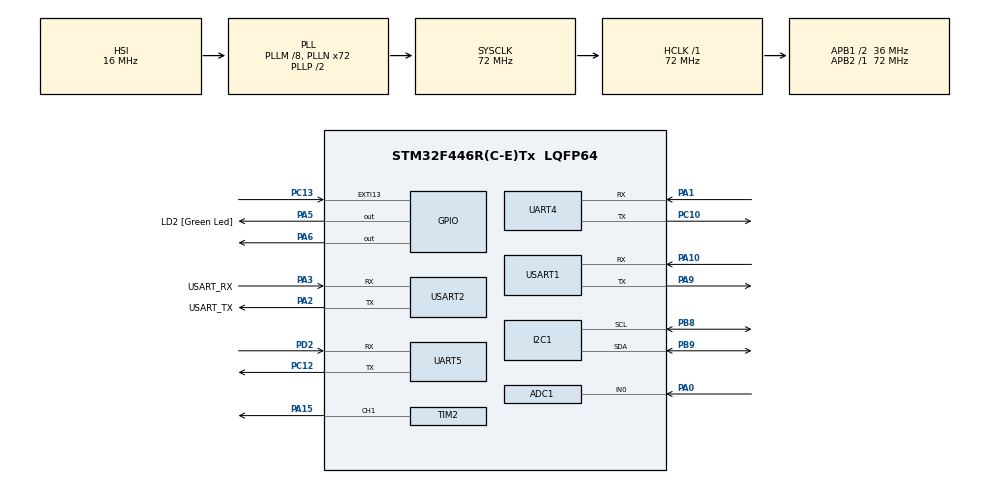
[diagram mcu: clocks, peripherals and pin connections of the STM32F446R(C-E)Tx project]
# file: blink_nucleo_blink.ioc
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ADC1.Channel-0\#ChannelRegularConversion=ADC_CHANNEL_0
ADC1.ContinuousConvMode=ENABLE
ADC1.NbrOfConversionFlag=1
ADC1.Rank-0\#ChannelRegularConversion=1
ADC1.SamplingTime-0\#ChannelRegularConversion=ADC_SAMPLETIME_3CYCLES
ADC1.master=1
Dma.Request0=USART2_RX
Dma.USART2_RX.0.Direction=DMA_PERIPH_TO_MEMORY
Dma.USART2_RX.0.FIFOMode=DMA_FIFOMODE_DISABLE
Dma.USART2_RX.0.Instance=DMA1_Stream5
Dma.USART2_RX.0.MemDataAlignment=DMA_MDATAALIGN_BYTE
Dma.USART2_RX.0.MemInc=DMA_MINC_ENABLE
Dma.USART2_RX.0.Mode=DMA_CIRCULAR
Dma.USART2_RX.0.PeriphDataAlignment=DMA_PDATAALIGN_BYTE
Dma.USART2_RX.0.PeriphInc=DMA_PINC_DISABLE
Dma.USART2_RX.0.Priority=DMA_PRIORITY_LOW
FREERTOS.Mutexes01=myMutex01,Dynamic,NULL,Available
FREERTOS.Tasks01=defaultTask,0,128,StartDefaultTask,Default,NULL,Dynamic,NULL,NULL;SensorOkumasi,3,512,readSensor,Default,NULL,Dynamic,NULL,NULL;SeriPortYazdir,2,512,serialWrite,Default,NULL,Dynamic,NULL,NULL
I2C1.I2C_Mode=I2C_Fast
Mcu.Family=STM32F4
Mcu.Name=STM32F446R(C-E)Tx
Mcu.Package=LQFP64
NVIC.DMA1_Stream5_IRQn=true\:5\:0\:false\:false\:true\:true\:false\:true\:true
NVIC.PriorityGroup=NVIC_PRIORITYGROUP_4
NVIC.TIM6_DAC_IRQn=true\:15\:0\:false\:false\:true\:false\:false\:true\:true
NVIC.TimeBase=TIM6_DAC_IRQn
NVIC.TimeBaseIP=TIM6
NVIC.USART2_IRQn=true\:5\:0\:false\:false\:true\:true\:true\:true\:true
PA0-WKUP.Signal=ADCx_IN0
PA1.Mode=Asynchronous
PA1.Signal=UART4_RX
PA10.Mode=Asynchronous
PA10.Signal=USART1_RX
PA13.GPIO_Label=TMS
PA13.Mode=Serial_Wire
PA13.Signal=SYS_JTMS-SWDIO
PA14.GPIO_Label=TCK
PA14.Mode=Serial_Wire
PA14.Signal=SYS_JTCK-SWCLK
PA15.Signal=S_TIM2_CH1_ETR
PA2.GPIO_Label=USART_TX
PA2.Mode=Asynchronous
PA2.Signal=USART2_TX
PA3.GPIO_Label=USART_RX
PA3.Mode=Asynchronous
PA3.Signal=USART2_RX
PA5.GPIO_Label=LD2 [Green Led]
PA5.Signal=GPIO_Output
PA6.Signal=GPIO_Output
PA9.Mode=Asynchronous
PA9.Signal=USART1_TX
PB3.GPIO_Label=SWO
PB3.Signal=SYS_JTDO-SWO
PB8.Mode=I2C
PB8.Signal=I2C1_SCL
PB9.Mode=I2C
PB9.Signal=I2C1_SDA
PC10.Mode=Asynchronous
PC10.Signal=UART4_TX
PC12.Mode=Asynchronous
PC12.Signal=UART5_TX
PC13.Signal=GPXTI13
PC14-OSC32_IN.Mode=LSE-External-Oscillator
PC14-OSC32_IN.Signal=RCC_OSC32_IN
PC15-OSC32_OUT.Mode=LSE-External-Oscillator
PC15-OSC32_OUT.Signal=RCC_OSC32_OUT
PD2.Mode=Asynchronous
PD2.Signal=UART5_RX
PH0-OSC_IN.Mode=HSE-External-Oscillator
PH0-OSC_IN.Signal=RCC_OSC_IN
PH1-OSC_OUT.Mode=HSE-External-Oscillator
PH1-OSC_OUT.Signal=RCC_OSC_OUT
ProjectManager.HeapSize=0x200
ProjectManager.StackSize=0x400
ProjectManager.TargetToolchain=STM32CubeIDE
RCC.48MHZClocksFreq_Value=84000000
RCC.AHBFreq_Value=72000000
RCC.APB1CLKDivider=RCC_HCLK_DIV2
RCC.APB1Freq_Value=36000000
RCC.APB1TimFreq_Value=72000000
RCC.APB2Freq_Value=72000000
RCC.APB2TimFreq_Value=72000000
RCC.CortexFreq_Value=72000000
RCC.FLatency-AdvancedSettings=FLASH_LATENCY_2
RCC.HCLKFreq_Value=72000000
RCC.HSE_VALUE=8000000
RCC.HSI_VALUE=16000000
RCC.PLLM=8
RCC.PLLN=72
RCC.SYSCLKFreq_VALUE=72000000
RCC.SYSCLKSource=RCC_SYSCLKSOURCE_PLLCLK
RCC.USBFreq_Value=72000000
RCC.VCOOutputFreq_Value=144000000
SH.ADCx_IN0.0=ADC1_IN0,IN0
SH.S_TIM2_CH1_ETR.0=TIM2_CH1,PWM Generation1 CH1
TIM2.Channel-PWM\ Generation1\ CH1=TIM_CHANNEL_1
UART4.VirtualMode=Asynchronous
UART5.VirtualMode=Asynchronous
USART1.VirtualMode=VM_ASYNC
USART2.VirtualMode=VM_ASYNC
VP_FREERTOS_VS_CMSIS_V1.Mode=CMSIS_V1
VP_SYS_VS_tim6.Mode=TIM6
VP_TIM2_VS_ClockSourceINT.Mode=Internal
board=NUCLEO-F446RE

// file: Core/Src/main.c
/* USER CODE BEGIN Header */
/**
  ******************************************************************************
  * @file           : main.c
  * @brief          : YRT Rocket Recovery Flight Software (Low-Pass Filter)
  ******************************************************************************
  * @attention
  *
  * Copyright (c) 2026 STMicroelectronics.
  * All rights reserved.
  *
  * This software is licensed under terms that can be found in the LICENSE file
  * in the root directory of this software component.
  * If no LICENSE file comes with this software, it is provided AS-IS.
  *
  ******************************************************************************
  */
/* USER CODE END Header */
#include "main.h"
#include "cmsis_os.h"
#include "adc.h"
#include "dma.h"
#include "i2c.h"
#include "tim.h"
#include "usart.h"
#include "gpio.h"

/* USER CODE BEGIN Includes */
#include <string.h>
#include <stdio.h>
#include <math.h>
#include "mpu6050.h"
/* USER CODE END Includes */

/* USER CODE BEGIN PTD */

typedef enum {

	ON_FLIGHT,
	APOGEE_REACHED

}FlightState;
/* USER CODE END PTD */

/* USER CODE BEGIN PV */
MPU6050_t mpuSensor;

char serialBuffer[100];
char serialBuffer2[100];

double rollOffset = 2;

double pitchOffset = 2;

double rollFinal;
double pitchFinal;

FlightState currentState;
/* USER CODE END PV */

void SystemClock_Config(void);
void MX_FREERTOS_Init(void);

int main(void)
{

  /* USER CODE BEGIN 1 */

currentState= ON_FLIGHT;
  /* USER CODE END 1 */

  /* MCU Configuration--------------------------------------------------------*/

  /* Reset of all peripherals, Initializes the Flash interface and the Systick. */
  HAL_Init();

  /* Configure the system clock */
  SystemClock_Config();

  /* Initialize all configured peripherals */
  MX_GPIO_Init();
  MX_DMA_Init();
  MX_USART2_UART_Init();
  MX_USART1_UART_Init();
  MX_UART4_Init();
  MX_UART5_Init();
  MX_ADC1_Init();
  MX_TIM2_Init();
  MX_I2C1_Init();
  /* USER CODE BEGIN 2 */

  while (MPU6050_Init(&hi2c1)==1) {
    //eğer sensör başlatılamazsa burada sonsuza kadar bekleyeceğiz
  }

  /* USER CODE END 2 */

  /* Call init function for freertos objects (in cmsis_os2.c) */
  MX_FREERTOS_Init();

  /* Start scheduler */
  osKernelStart();

  /* We should never get here as control is now taken by the scheduler */

  /* Infinite loop */
	  while (1) {

  }
}

void SystemClock_Config(void)
{
  RCC_OscInitTypeDef RCC_OscInitStruct = {0};
  RCC_ClkInitTypeDef RCC_ClkInitStruct = {0};

  /** Configure the main internal regulator output voltage
  */
  __HAL_RCC_PWR_CLK_ENABLE();
  __HAL_PWR_VOLTAGESCALING_CONFIG(PWR_REGULATOR_VOLTAGE_SCALE3);

  /** Initializes the RCC Oscillators according to the specified parameters
  * in the RCC_OscInitTypeDef structure.
  */
  RCC_OscInitStruct.OscillatorType = RCC_OSCILLATORTYPE_HSI;
  RCC_OscInitStruct.HSIState = RCC_HSI_ON;
  RCC_OscInitStruct.HSICalibrationValue = RCC_HSICALIBRATION_DEFAULT;
  RCC_OscInitStruct.PLL.PLLState = RCC_PLL_ON;
  RCC_OscInitStruct.PLL.PLLSource = RCC_PLLSOURCE_HSI;
  RCC_OscInitStruct.PLL.PLLM = 8;
  RCC_OscInitStruct.PLL.PLLN = 72;
  RCC_OscInitStruct.PLL.PLLP = RCC_PLLP_DIV2;
  RCC_OscInitStruct.PLL.PLLQ = 2;
  RCC_OscInitStruct.PLL.PLLR = 2;
  if (HAL_RCC_OscConfig(&RCC_OscInitStruct) != HAL_OK)
  {
    Error_Handler();
  }

  /** Initializes the CPU, AHB and APB buses clocks
  */
  RCC_ClkInitStruct.ClockType = RCC_CLOCKTYPE_HCLK|RCC_CLOCKTYPE_SYSCLK
                              |RCC_CLOCKTYPE_PCLK1|RCC_CLOCKTYPE_PCLK2;
  RCC_ClkInitStruct.SYSCLKSource = RCC_SYSCLKSOURCE_PLLCLK;
  RCC_ClkInitStruct.AHBCLKDivider = RCC_SYSCLK_DIV1;
  RCC_ClkInitStruct.APB1CLKDivider = RCC_HCLK_DIV2;
  RCC_ClkInitStruct.APB2CLKDivider = RCC_HCLK_DIV1;

  if (HAL_RCC_ClockConfig(&RCC_ClkInitStruct, FLASH_LATENCY_2) != HAL_OK)
  {
    Error_Handler();
  }
}

void HAL_TIM_PeriodElapsedCallback(TIM_HandleTypeDef *htim)
{
  if (htim->Instance == TIM6)
  {
    HAL_IncTick();
  }
}

void Error_Handler(void)
{
  __disable_irq();
  while (1)
  {
  }
}

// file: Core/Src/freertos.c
/* USER CODE BEGIN Header */
/**
  ******************************************************************************
  * File Name          : freertos.c
  * Description        : Code for freertos applications
  ******************************************************************************
  * @attention
  *
  * Copyright (c) 2026 STMicroelectronics.
  * All rights reserved.
  *
  * This software is licensed under terms that can be found in the LICENSE file
  * in the root directory of this software component.
  * If no LICENSE file comes with this software, it is provided AS-IS.
  *
  ******************************************************************************
  */
/* USER CODE END Header */

#include "FreeRTOS.h"
#include "task.h"
#include "main.h"
#include "cmsis_os.h"

/* USER CODE BEGIN Includes */
#include <string.h>
#include <stdio.h>
#include <math.h>
#include "mpu6050.h"
#include "usart.h"
/* USER CODE END Includes */

/* USER CODE BEGIN PTD */

typedef enum {

	ON_FLIGHT,
	APOGEE_REACHED

}FlightState;

/* USER CODE END PTD */

/* USER CODE BEGIN PD */

extern char serialBuffer[];
extern char serialBuffer2[];

extern double rollOffset;

extern double pitchOffset;

extern MPU6050_t mpuSensor;

extern double rollFinal;
extern double pitchFinal;
extern FlightState currentState;

/* USER CODE END PD */

osThreadId defaultTaskHandle;
osThreadId SensorOkumasiHandle;
osThreadId SeriPortYazdirHandle;
osMutexId myMutex01Handle;

void StartDefaultTask(void const * argument);
void readSensor(void const * argument);
void serialWrite(void const * argument);

void MX_FREERTOS_Init(void); /* (MISRA C 2004 rule 8.1) */

/* GetIdleTaskMemory prototype (linked to static allocation support) */
void vApplicationGetIdleTaskMemory( StaticTask_t **ppxIdleTaskTCBBuffer, StackType_t **ppxIdleTaskStackBuffer, uint32_t *pulIdleTaskStackSize );

/* USER CODE BEGIN GET_IDLE_TASK_MEMORY */
static StaticTask_t xIdleTaskTCBBuffer;
static StackType_t xIdleStack[configMINIMAL_STACK_SIZE];

void vApplicationGetIdleTaskMemory( StaticTask_t **ppxIdleTaskTCBBuffer, StackType_t **ppxIdleTaskStackBuffer, uint32_t *pulIdleTaskStackSize )
{
  *ppxIdleTaskTCBBuffer = &xIdleTaskTCBBuffer;
  *ppxIdleTaskStackBuffer = &xIdleStack[0];
  *pulIdleTaskStackSize = configMINIMAL_STACK_SIZE;
  /* place for user code */
}
/* USER CODE END GET_IDLE_TASK_MEMORY */

void MX_FREERTOS_Init(void) {
  /* Create the mutex(es) */
  /* definition and creation of myMutex01 */
  osMutexDef(myMutex01);
  myMutex01Handle = osMutexCreate(osMutex(myMutex01));

  /* Create the thread(s) */
  /* definition and creation of defaultTask */
  osThreadDef(defaultTask, StartDefaultTask, osPriorityNormal, 0, 128);
  defaultTaskHandle = osThreadCreate(osThread(defaultTask), NULL);

  /* definition and creation of SensorOkumasi */
  osThreadDef(SensorOkumasi, readSensor, osPriorityRealtime, 0, 512);
  SensorOkumasiHandle = osThreadCreate(osThread(SensorOkumasi), NULL);

  /* definition and creation of SeriPortYazdir */
  osThreadDef(SeriPortYazdir, serialWrite, osPriorityHigh, 0, 512);
  SeriPortYazdirHandle = osThreadCreate(osThread(SeriPortYazdir), NULL);

}

void StartDefaultTask(void const * argument)
{
  for(;;)
  {
    osDelay(1);
  }
}

void readSensor(void const * argument)
{
  /* USER CODE BEGIN readSensor */
  /* Infinite loop */
  for(;;)
  {

	  if (osMutexWait(myMutex01Handle, osWaitForever) == osOK) {

		  MPU6050_Read_All(&hi2c1, &mpuSensor);

		  		rollFinal= mpuSensor.KalmanAngleX + rollOffset;
		  	    pitchFinal= mpuSensor.KalmanAngleY + pitchOffset;

		  switch(currentState){

		  case ON_FLIGHT:

		  	if(fabs(pitchFinal)>45.00){
		  		//sprintf( serialBuffer2, "Pitch degerine ulasildi \r\n");

		  			//	HAL_UART_Transmit(&huart2, (uint8_t*)serialBuffer2, strlen(serialBuffer2),2000);
		  	  currentState = APOGEE_REACHED;
		  		HAL_GPIO_WritePin(GPIOA, GPIO_PIN_5, GPIO_PIN_SET);
		  	}

		  	else{
		  		//sprintf( serialBuffer2, "ULASILMADI \r\n");

		  			//		HAL_UART_Transmit(&huart2, (uint8_t*)serialBuffer2, strlen(serialBuffer2),2000);

		  					currentState = ON_FLIGHT;
		  	}

		  	break;

		  case APOGEE_REACHED:

	//aşağıda sensçr yazmasında burayı doldurduk.
		  	break;

		  }

		  osMutexRelease(myMutex01Handle);
	  }

	  osDelay(50);
  }
  /* USER CODE END readSensor */
}

void serialWrite(void const * argument)
{
  /* USER CODE BEGIN serialWrite */
  /* Infinite loop */
  for(;;)
  {
	  FlightState temporaryState;

	  if (osMutexWait(myMutex01Handle, osWaitForever) == osOK) {
	  sprintf( serialBuffer, "Pitch: %.2f | Roll: %.2f | Acc(G): X:%.2f Y:%.2f Z:%.2f | Gyro: X:%.2f Y:%.2f Z:%.2f\r\n",
	  pitchFinal,
	  rollFinal,
	  mpuSensor.Ax,
	  mpuSensor.Ay,
	  mpuSensor.Az,
	  mpuSensor.Gx,
	  mpuSensor.Gy,
	  mpuSensor.Gz
	  );

	  temporaryState= currentState;

    osMutexRelease(myMutex01Handle);
  }

	  HAL_UART_Transmit(&huart2, (uint8_t*)serialBuffer, strlen(serialBuffer),2000);

	 if(temporaryState==APOGEE_REACHED){
	  sprintf(serialBuffer2, "APOGEE ULASILDI \r\n");
	  HAL_UART_Transmit(&huart2, (uint8_t*)serialBuffer2, strlen(serialBuffer2),2000);

	  }
	 osDelay(100);

	  }
  /* USER CODE END serialWrite */
}
